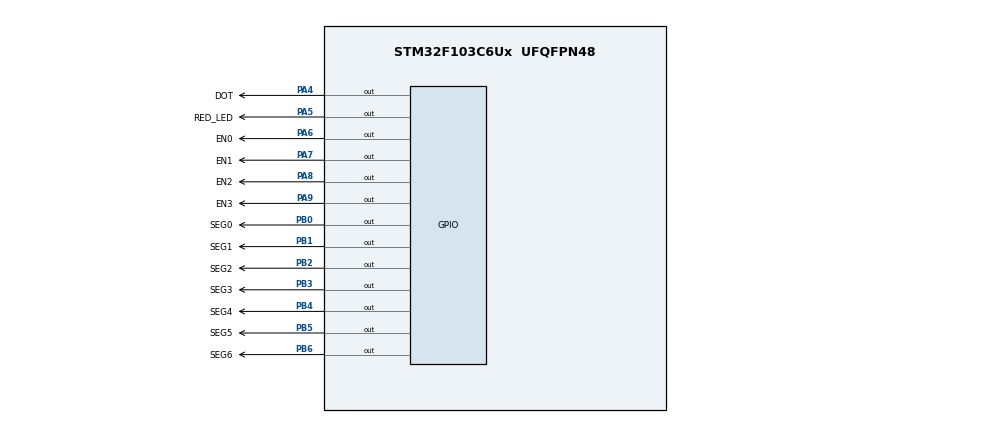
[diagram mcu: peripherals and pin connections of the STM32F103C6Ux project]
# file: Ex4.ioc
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Mcu.Family=STM32F1
Mcu.Name=STM32F103C6Ux
Mcu.Package=UFQFPN48
NVIC.PriorityGroup=NVIC_PRIORITYGROUP_4
NVIC.TIM2_IRQn=true\:0\:0\:false\:false\:true\:true\:true
PA4.GPIO_Label=DOT
PA4.Signal=GPIO_Output
PA5.GPIO_Label=RED_LED
PA5.Signal=GPIO_Output
PA6.GPIO_Label=EN0
PA6.Signal=GPIO_Output
PA7.GPIO_Label=EN1
PA7.Signal=GPIO_Output
PA8.GPIO_Label=EN2
PA8.Signal=GPIO_Output
PA9.GPIO_Label=EN3
PA9.Signal=GPIO_Output
PB0.GPIO_Label=SEG0
PB0.Signal=GPIO_Output
PB1.GPIO_Label=SEG1
PB1.Signal=GPIO_Output
PB2.GPIO_Label=SEG2
PB2.Signal=GPIO_Output
PB3.GPIO_Label=SEG3
PB3.Signal=GPIO_Output
PB4.GPIO_Label=SEG4
PB4.Signal=GPIO_Output
PB5.GPIO_Label=SEG5
PB5.Signal=GPIO_Output
PB6.GPIO_Label=SEG6
PB6.Signal=GPIO_Output
ProjectManager.HeapSize=0x200
ProjectManager.StackSize=0x400
ProjectManager.TargetToolchain=STM32CubeIDE
RCC.APB1Freq_Value=8000000
RCC.APB2Freq_Value=8000000
TIM2.Period=9
TIM2.Prescaler=7999
VP_SYS_VS_ND.Mode=No_Debug
VP_TIM2_VS_ClockSourceINT.Mode=Internal
board=custom

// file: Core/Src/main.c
/* USER CODE BEGIN Header */
/**
  ******************************************************************************
  * @file           : main.c
  * @brief          : Main program body
  ******************************************************************************
  * @attention
  *
  * <h2><center>&copy; Copyright (c) 2022 STMicroelectronics.
  * All rights reserved.</center></h2>
  *
  * This software component is licensed by ST under BSD 3-Clause license,
  * the "License"; You may not use this file except in compliance with the
  * License. You may obtain a copy of the License at:
  *                        opensource.org/licenses/BSD-3-Clause
  *
  ******************************************************************************
  */
/* USER CODE END Header */
#include "main.h"

/* USER CODE BEGIN Includes */
#include "software_timer.h"
/* USER CODE END Includes */

TIM_HandleTypeDef htim2;

void SystemClock_Config(void);
static void MX_GPIO_Init(void);
static void MX_TIM2_Init(void);

/* USER CODE BEGIN 0 */
void display7SEG(int num){
	switch(num){
	case 0:
		HAL_GPIO_WritePin(SEG0_GPIO_Port, SEG0_Pin, 0);
		HAL_GPIO_WritePin(SEG1_GPIO_Port, SEG1_Pin, 0);
		HAL_GPIO_WritePin(SEG2_GPIO_Port, SEG2_Pin, 0);
		HAL_GPIO_WritePin(SEG3_GPIO_Port, SEG3_Pin, 0);
		HAL_GPIO_WritePin(SEG4_GPIO_Port, SEG4_Pin, 0);
		HAL_GPIO_WritePin(SEG5_GPIO_Port, SEG5_Pin, 0);
		HAL_GPIO_WritePin(SEG6_GPIO_Port, SEG6_Pin, 1);
		break;
	case 1:
		HAL_GPIO_WritePin(SEG0_GPIO_Port, SEG0_Pin, 1);
		HAL_GPIO_WritePin(SEG1_GPIO_Port, SEG1_Pin, 0);
		HAL_GPIO_WritePin(SEG2_GPIO_Port, SEG2_Pin, 0);
		HAL_GPIO_WritePin(SEG3_GPIO_Port, SEG3_Pin, 1);
		HAL_GPIO_WritePin(SEG4_GPIO_Port, SEG4_Pin, 1);
		HAL_GPIO_WritePin(SEG5_GPIO_Port, SEG5_Pin, 1);
		HAL_GPIO_WritePin(SEG6_GPIO_Port, SEG6_Pin, 1);
		break;
	case 2:
		HAL_GPIO_WritePin(SEG0_GPIO_Port, SEG0_Pin, 0);
		HAL_GPIO_WritePin(SEG1_GPIO_Port, SEG1_Pin, 0);
		HAL_GPIO_WritePin(SEG2_GPIO_Port, SEG2_Pin, 1);
		HAL_GPIO_WritePin(SEG3_GPIO_Port, SEG3_Pin, 0);
		HAL_GPIO_WritePin(SEG4_GPIO_Port, SEG4_Pin, 0);
		HAL_GPIO_WritePin(SEG5_GPIO_Port, SEG5_Pin, 1);
		HAL_GPIO_WritePin(SEG6_GPIO_Port, SEG6_Pin, 0);
		break;
	case 3:
		HAL_GPIO_WritePin(SEG0_GPIO_Port, SEG0_Pin, 0);
		HAL_GPIO_WritePin(SEG1_GPIO_Port, SEG1_Pin, 0);
		HAL_GPIO_WritePin(SEG2_GPIO_Port, SEG2_Pin, 0);
		HAL_GPIO_WritePin(SEG3_GPIO_Port, SEG3_Pin, 0);
		HAL_GPIO_WritePin(SEG4_GPIO_Port, SEG4_Pin, 1);
		HAL_GPIO_WritePin(SEG5_GPIO_Port, SEG5_Pin, 1);
		HAL_GPIO_WritePin(SEG6_GPIO_Port, SEG6_Pin, 0);
		break;
	case 4:
		HAL_GPIO_WritePin(SEG0_GPIO_Port, SEG0_Pin, 1);
		HAL_GPIO_WritePin(SEG1_GPIO_Port, SEG1_Pin, 0);
		HAL_GPIO_WritePin(SEG2_GPIO_Port, SEG2_Pin, 0);
		HAL_GPIO_WritePin(SEG3_GPIO_Port, SEG3_Pin, 1);
		HAL_GPIO_WritePin(SEG4_GPIO_Port, SEG4_Pin, 1);
		HAL_GPIO_WritePin(SEG5_GPIO_Port, SEG5_Pin, 0);
		HAL_GPIO_WritePin(SEG6_GPIO_Port, SEG6_Pin, 0);
		break;
	case 5:
		HAL_GPIO_WritePin(SEG0_GPIO_Port, SEG0_Pin, 0);
		HAL_GPIO_WritePin(SEG1_GPIO_Port, SEG1_Pin, 1);
		HAL_GPIO_WritePin(SEG2_GPIO_Port, SEG2_Pin, 0);
		HAL_GPIO_WritePin(SEG3_GPIO_Port, SEG3_Pin, 0);
		HAL_GPIO_WritePin(SEG4_GPIO_Port, SEG4_Pin, 1);
		HAL_GPIO_WritePin(SEG5_GPIO_Port, SEG5_Pin, 0);
		HAL_GPIO_WritePin(SEG6_GPIO_Port, SEG6_Pin, 0);
		break;
	case 6:
		HAL_GPIO_WritePin(SEG0_GPIO_Port, SEG0_Pin, 0);
		HAL_GPIO_WritePin(SEG1_GPIO_Port, SEG1_Pin, 1);
		HAL_GPIO_WritePin(SEG2_GPIO_Port, SEG2_Pin, 0);
		HAL_GPIO_WritePin(SEG3_GPIO_Port, SEG3_Pin, 0);
		HAL_GPIO_WritePin(SEG4_GPIO_Port, SEG4_Pin, 0);
		HAL_GPIO_WritePin(SEG5_GPIO_Port, SEG5_Pin, 0);
		HAL_GPIO_WritePin(SEG6_GPIO_Port, SEG6_Pin, 0);
		break;
	case 7:
		HAL_GPIO_WritePin(SEG0_GPIO_Port, SEG0_Pin, 0);
		HAL_GPIO_WritePin(SEG1_GPIO_Port, SEG1_Pin, 0);
		HAL_GPIO_WritePin(SEG2_GPIO_Port, SEG2_Pin, 0);
		HAL_GPIO_WritePin(SEG3_GPIO_Port, SEG3_Pin, 1);
		HAL_GPIO_WritePin(SEG4_GPIO_Port, SEG4_Pin, 1);
		HAL_GPIO_WritePin(SEG5_GPIO_Port, SEG5_Pin, 1);
		HAL_GPIO_WritePin(SEG6_GPIO_Port, SEG6_Pin, 1);
		break;
	case 8:
		HAL_GPIO_WritePin(SEG0_GPIO_Port, SEG0_Pin, 0);
		HAL_GPIO_WritePin(SEG1_GPIO_Port, SEG1_Pin, 0);
		HAL_GPIO_WritePin(SEG2_GPIO_Port, SEG2_Pin, 0);
		HAL_GPIO_WritePin(SEG3_GPIO_Port, SEG3_Pin, 0);
		HAL_GPIO_WritePin(SEG4_GPIO_Port, SEG4_Pin, 0);
		HAL_GPIO_WritePin(SEG5_GPIO_Port, SEG5_Pin, 0);
		HAL_GPIO_WritePin(SEG6_GPIO_Port, SEG6_Pin, 0);
		break;
	case 9:
		HAL_GPIO_WritePin(SEG0_GPIO_Port, SEG0_Pin, 0);
		HAL_GPIO_WritePin(SEG1_GPIO_Port, SEG1_Pin, 0);
		HAL_GPIO_WritePin(SEG2_GPIO_Port, SEG2_Pin, 0);
		HAL_GPIO_WritePin(SEG3_GPIO_Port, SEG3_Pin, 0);
		HAL_GPIO_WritePin(SEG4_GPIO_Port, SEG4_Pin, 1);
		HAL_GPIO_WritePin(SEG5_GPIO_Port, SEG5_Pin, 0);
		HAL_GPIO_WritePin(SEG6_GPIO_Port, SEG6_Pin, 0);
		break;
	default:
		break;
	}
}

const int MAX_LED =4;
int index_led =0;
int led_buffer[4] = {1, 2, 3, 4};
void update7SEG(int index){
	switch (index){
	case 0:
		HAL_GPIO_WritePin(EN0_GPIO_Port, EN0_Pin, 0);
		display7SEG(led_buffer[0]);
		break;
	case 1:
		HAL_GPIO_WritePin(EN1_GPIO_Port, EN1_Pin, 0);
		display7SEG(led_buffer[1]);
		break;
	case 2:
		HAL_GPIO_WritePin(EN2_GPIO_Port, EN2_Pin, 0);
		display7SEG(led_buffer[2]);
		break;
	case 3:
		HAL_GPIO_WritePin(EN3_GPIO_Port, EN3_Pin, 0);
		display7SEG(led_buffer[3]);
		break;
	default:
		break;
	}
}
/* USER CODE END 0 */

int main(void)
{

  /* MCU Configuration--------------------------------------------------------*/

  /* Reset of all peripherals, Initializes the Flash interface and the Systick. */
  HAL_Init();

  /* Configure the system clock */
  SystemClock_Config();

  /* Initialize all configured peripherals */
  MX_GPIO_Init();
  MX_TIM2_Init();
  /* USER CODE BEGIN 2 */
  HAL_TIM_Base_Start_IT(&htim2);
  setTimer1(3);
  setTimer2(5);
  /* USER CODE END 2 */

  /* Infinite loop */
  while (1)
  {
	  if (timer1_flag == 1){
		  setTimer1(25);

		  HAL_GPIO_WritePin(EN0_GPIO_Port, EN0_Pin, 1);
		  HAL_GPIO_WritePin(EN1_GPIO_Port, EN1_Pin, 1);
		  HAL_GPIO_WritePin(EN2_GPIO_Port, EN2_Pin, 1);
		  HAL_GPIO_WritePin(EN3_GPIO_Port, EN3_Pin, 1);

		  update7SEG(index_led);

		  if (index_led ==3) index_led =0;
		  else index_led ++;
	  }

	  if (timer2_flag ==1){
		  setTimer2(50);
		  HAL_GPIO_TogglePin(DOT_GPIO_Port, DOT_Pin);
		  HAL_GPIO_TogglePin(RED_LED_GPIO_Port, RED_LED_Pin);
	  }
  }
}

void SystemClock_Config(void)
{
  RCC_OscInitTypeDef RCC_OscInitStruct = {0};
  RCC_ClkInitTypeDef RCC_ClkInitStruct = {0};

  /** Initializes the RCC Oscillators according to the specified parameters
  * in the RCC_OscInitTypeDef structure.
  */
  RCC_OscInitStruct.OscillatorType = RCC_OSCILLATORTYPE_HSI;
  RCC_OscInitStruct.HSIState = RCC_HSI_ON;
  RCC_OscInitStruct.HSICalibrationValue = RCC_HSICALIBRATION_DEFAULT;
  RCC_OscInitStruct.PLL.PLLState = RCC_PLL_NONE;
  if (HAL_RCC_OscConfig(&RCC_OscInitStruct) != HAL_OK)
  {
    Error_Handler();
  }
  /** Initializes the CPU, AHB and APB buses clocks
  */
  RCC_ClkInitStruct.ClockType = RCC_CLOCKTYPE_HCLK|RCC_CLOCKTYPE_SYSCLK
                              |RCC_CLOCKTYPE_PCLK1|RCC_CLOCKTYPE_PCLK2;
  RCC_ClkInitStruct.SYSCLKSource = RCC_SYSCLKSOURCE_HSI;
  RCC_ClkInitStruct.AHBCLKDivider = RCC_SYSCLK_DIV1;
  RCC_ClkInitStruct.APB1CLKDivider = RCC_HCLK_DIV1;
  RCC_ClkInitStruct.APB2CLKDivider = RCC_HCLK_DIV1;

  if (HAL_RCC_ClockConfig(&RCC_ClkInitStruct, FLASH_LATENCY_0) != HAL_OK)
  {
    Error_Handler();
  }
}

static void MX_TIM2_Init(void)
{

  TIM_ClockConfigTypeDef sClockSourceConfig = {0};
  TIM_MasterConfigTypeDef sMasterConfig = {0};

  htim2.Instance = TIM2;
  htim2.Init.Prescaler = 7999;
  htim2.Init.CounterMode = TIM_COUNTERMODE_UP;
  htim2.Init.Period = 9;
  htim2.Init.ClockDivision = TIM_CLOCKDIVISION_DIV1;
  htim2.Init.AutoReloadPreload = TIM_AUTORELOAD_PRELOAD_DISABLE;
  if (HAL_TIM_Base_Init(&htim2) != HAL_OK)
  {
    Error_Handler();
  }
  sClockSourceConfig.ClockSource = TIM_CLOCKSOURCE_INTERNAL;
  if (HAL_TIM_ConfigClockSource(&htim2, &sClockSourceConfig) != HAL_OK)
  {
    Error_Handler();
  }
  sMasterConfig.MasterOutputTrigger = TIM_TRGO_RESET;
  sMasterConfig.MasterSlaveMode = TIM_MASTERSLAVEMODE_DISABLE;
  if (HAL_TIMEx_MasterConfigSynchronization(&htim2, &sMasterConfig) != HAL_OK)
  {
    Error_Handler();
  }

}

static void MX_GPIO_Init(void)
{
  GPIO_InitTypeDef GPIO_InitStruct = {0};

  /* GPIO Ports Clock Enable */
  __HAL_RCC_GPIOA_CLK_ENABLE();
  __HAL_RCC_GPIOB_CLK_ENABLE();

  /*Configure GPIO pin Output Level */
  HAL_GPIO_WritePin(GPIOA, DOT_Pin|RED_LED_Pin|EN0_Pin|EN1_Pin
                          |EN2_Pin|EN3_Pin, GPIO_PIN_RESET);

  /*Configure GPIO pin Output Level */
  HAL_GPIO_WritePin(GPIOB, SEG0_Pin|SEG1_Pin|SEG2_Pin|SEG3_Pin
                          |SEG4_Pin|SEG5_Pin|SEG6_Pin, GPIO_PIN_RESET);

  /*Configure GPIO pins : DOT_Pin RED_LED_Pin EN0_Pin EN1_Pin
                           EN2_Pin EN3_Pin */
  GPIO_InitStruct.Pin = DOT_Pin|RED_LED_Pin|EN0_Pin|EN1_Pin
                          |EN2_Pin|EN3_Pin;
  GPIO_InitStruct.Mode = GPIO_MODE_OUTPUT_PP;
  GPIO_InitStruct.Pull = GPIO_NOPULL;
  GPIO_InitStruct.Speed = GPIO_SPEED_FREQ_LOW;
  HAL_GPIO_Init(GPIOA, &GPIO_InitStruct);

  /*Configure GPIO pins : SEG0_Pin SEG1_Pin SEG2_Pin SEG3_Pin
                           SEG4_Pin SEG5_Pin SEG6_Pin */
  GPIO_InitStruct.Pin = SEG0_Pin|SEG1_Pin|SEG2_Pin|SEG3_Pin
                          |SEG4_Pin|SEG5_Pin|SEG6_Pin;
  GPIO_InitStruct.Mode = GPIO_MODE_OUTPUT_PP;
  GPIO_InitStruct.Pull = GPIO_NOPULL;
  GPIO_InitStruct.Speed = GPIO_SPEED_FREQ_LOW;
  HAL_GPIO_Init(GPIOB, &GPIO_InitStruct);

}

/* USER CODE BEGIN 4 */
void HAL_TIM_PeriodElapsedCallback(TIM_HandleTypeDef *htim){
	timerRun();
}
/* USER CODE END 4 */

void Error_Handler(void)
{
  __disable_irq();
  while (1)
  {
  }
}

/************************ (C) COPYRIGHT STMicroelectronics *****END OF FILE****/
